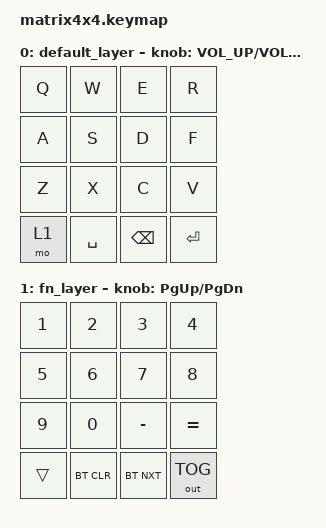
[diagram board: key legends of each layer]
# config/boards/shields/matrix4x4/matrix4x4.keymap
#
# Copyright (c) 2024 The ZMK Contributors
# SPDX-License-Identifier: MIT
#

#include <behaviors.dtsi>
#include <dt-bindings/zmk/keys.h>
#include <dt-bindings/zmk/bt.h>
#include <dt-bindings/zmk/outputs.h>

/ {
    keymap {
        compatible = "zmk,keymap";

        default_layer {
            bindings = <
                &kp Q       &kp W       &kp E       &kp R
                &kp A       &kp S       &kp D       &kp F
                &kp Z       &kp X       &kp C       &kp V
                &mo 1       &kp SPACE   &kp BSPC    &kp RET
            >;
            sensor-bindings = <&inc_dec_kp C_VOL_UP C_VOL_DN>;
        };

        fn_layer {
            bindings = <
                &kp N1      &kp N2      &kp N3      &kp N4
                &kp N5      &kp N6      &kp N7      &kp N8
                &kp N9      &kp N0      &kp MINUS   &kp EQUAL
                &trans      &bt BT_CLR  &bt BT_NXT  &out OUT_TOG
            >;
            sensor-bindings = <&inc_dec_kp PG_UP PG_DN>;
        };
    };
};
